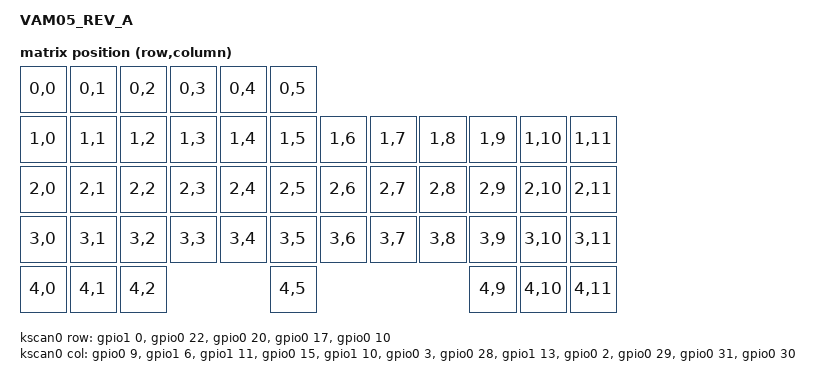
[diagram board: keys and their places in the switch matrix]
/*
 * Copyright (c) 2020 The ZMK Contributors
 *
 * SPDX-License-Identifier: MIT
 */

/dts-v1/;
#include <nordic/nrf52840_qiaa.dtsi>
#include <dt-bindings/zmk/matrix_transform.h>
#include <dt-bindings/led/led.h>
#include "vam05_rev_a-layouts.dtsi"


/ {
	model = "VAM05_REV_A";
	compatible = "vam05", "Rev_A";

	chosen {
		zephyr,code-partition = &code_partition;
		zephyr,sram = &sram0;
		zephyr,flash = &flash0;
		zmk,kscan = &kscan0;
        zmk,underglow = &led_strip;
		zmk,battery = &fuelgauge;
		zmk,studio-rpc-uart = &cdc_acm_uart;
	};

	ext-power {
		compatible = "zmk,ext-power-generic";
		control-gpios = <&gpio0 24 GPIO_ACTIVE_HIGH>; // P0.24	UG_EN（WS2812 power control）
	};

    aliases {
        led-red = &led0; // rgbled-widget 
        led-green = &led1;
        led-blue = &led2;
		led-caps = &led_orange;
		indicator-led = &user_led;
    };
    leds {
        compatible = "gpio-leds";
        status = "okay";// rgbled-widget
        led0: led_0 {
            gpios = <&gpio0 8 GPIO_ACTIVE_LOW>;  // red LED, connected to P0.26
        };
        led1: led_1 {
            gpios = <&gpio0 6 GPIO_ACTIVE_LOW>;  // green LED, connected to P0.30
        };
        led2: led_2 {
            gpios = <&gpio0 26 GPIO_ACTIVE_LOW>;  // blue LED, connected to P0.06
        };
		led_orange: led_orange {
			gpios = <&gpio0 12 GPIO_ACTIVE_LOW>; // P0.12	Extra_LED_Color2（extra RGB LED）
		};
        user_led: led_batt {
            gpios = <&gpio1 4 GPIO_ACTIVE_LOW>; // P1.04	Batt_LED_G（power RGB LED）
            label = "User LED";
        };
    };

	default_transform: keymap_transform_0 {
		compatible = "zmk,matrix-transform";
		columns = <12>;
		rows = <5>;
		map = <
			RC(0,0) RC(0,1) RC(0,2) RC(0,3) RC(0,4) RC(0,5)
			RC(1,0) RC(1,1) RC(1,2) RC(1,3) RC(1,4) RC(1,5) RC(1,6) RC(1,7) RC(1,8) RC(1,9) RC(1,10) RC(1,11)
			RC(2,0) RC(2,1) RC(2,2) RC(2,3) RC(2,4) RC(2,5) RC(2,6) RC(2,7) RC(2,8) RC(2,9) RC(2,10) RC(2,11)
			RC(3,0) RC(3,1) RC(3,2) RC(3,3) RC(3,4) RC(3,5) RC(3,6) RC(3,7) RC(3,8) RC(3,9) RC(3,10) RC(3,11)
			RC(4,0) RC(4,1) RC(4,2)                 RC(4,5)                         RC(4,9) RC(4,10) RC(4,11)
		>;
	};

	kscan0: kscan {
		compatible = "zmk,kscan-gpio-matrix";
		wakeup-source;
		diode-direction = "col2row";
		row-gpios
			= <&gpio1  0 (GPIO_ACTIVE_HIGH | GPIO_PULL_DOWN)>
			, <&gpio0 22 (GPIO_ACTIVE_HIGH | GPIO_PULL_DOWN)>
			, <&gpio0 20 (GPIO_ACTIVE_HIGH | GPIO_PULL_DOWN)>
			, <&gpio0 17 (GPIO_ACTIVE_HIGH | GPIO_PULL_DOWN)>
			, <&gpio0 10 (GPIO_ACTIVE_HIGH | GPIO_PULL_DOWN)>
			;
		col-gpios
			= <&gpio0  9 GPIO_ACTIVE_HIGH>
			, <&gpio1  6 GPIO_ACTIVE_HIGH>
			, <&gpio1 11 GPIO_ACTIVE_HIGH>
			, <&gpio0 15 GPIO_ACTIVE_HIGH>
			, <&gpio1 10 GPIO_ACTIVE_HIGH>
			, <&gpio0  3 GPIO_ACTIVE_HIGH>
			, <&gpio0 28 GPIO_ACTIVE_HIGH>
			, <&gpio1 13 GPIO_ACTIVE_HIGH>
			, <&gpio0  2 GPIO_ACTIVE_HIGH>
			, <&gpio0 29 GPIO_ACTIVE_HIGH>
			, <&gpio0 31 GPIO_ACTIVE_HIGH>
			, <&gpio0 30 GPIO_ACTIVE_HIGH>
			;
	};

};

&gpio0 {
	status = "okay";
};

&gpio1 {
	status = "okay";
};

zephyr_udc0: &usbd {
    status = "okay";
};

&usbd {
    status = "okay";
    cdc_acm_uart: cdc_acm_uart {
        compatible = "zephyr,cdc-acm-uart";
        label = "CDC_ACM_0";
    };
};

&pinctrl {

    spi3_default: spi3_default {
        group1 {
            psels = <NRF_PSEL(SPIM_MOSI, 0, 13)>; // P0.13	UG_LV（WS2812 data in）
        };
    };
    spi3_sleep: spi3_sleep {
        group1 {
            psels = <NRF_PSEL(SPIM_MOSI, 0, 13)>;
            low-power-enable;
        };
    };


    i2c0_default: i2c0_default {
            group1 {
                    psels = <NRF_PSEL(TWIM_SDA, 0, 5)>,
                             <NRF_PSEL(TWIM_SCL, 1, 9)>;
            };
    };

    i2c0_sleep: i2c0_sleep {
            group1 {
                    psels = <NRF_PSEL(TWIM_SDA, 0, 5)>,
                            <NRF_PSEL(TWIM_SCL, 1, 9)>;
                    low-power-enable;
            };

    };

};

&i2c0 {
	status = "okay";
	compatible = "nordic,nrf-twim";
	pinctrl-0 = <&i2c0_default>;
    pinctrl-1 = <&i2c0_sleep>;
    pinctrl-names = "default", "sleep";
	clock-frequency = <100000>;

	fuelgauge: max17048@36 {
		compatible = "zmk,maxim-max17048";
		reg = <0x36>;
	};
};

&spi3 {
	compatible = "nordic,nrf-spim";
	status = "okay";
	pinctrl-0 = <&spi3_default>;
	pinctrl-1 = <&spi3_sleep>;
	pinctrl-names = "default", "sleep";
	led_strip: ws2812@0 {
		compatible = "worldsemi,ws2812-spi";
		label = "WS2812";
		/* SPI */
		reg = <0>; /* ignored, but necessary for SPI bindings */
		spi-max-frequency = <4000000>;
		/* WS2812 */
		chain-length = <12>; /* LED strip length */
		spi-one-frame = <0x70>;
		spi-zero-frame = <0x40>;
		color-mapping = <LED_COLOR_ID_GREEN LED_COLOR_ID_RED LED_COLOR_ID_BLUE>;
	};
};


&flash0 {
	/*
	 * For more information, see:
	 * http://docs.zephyrproject.org/latest/devices/dts/flash_partitions.html
	 */
	partitions {
		compatible = "fixed-partitions";
		#address-cells = <1>;
		#size-cells = <1>;

		sd_partition: partition@0 {
			label = "softdevice";
			reg = <0x00000000 0x00026000>;
		};
		code_partition: partition@26000 {
			label = "code_partition";
			reg = <0x00026000 0x000c6000>;
		};

		/*
		 * The flash starting at 0x000ec000 and ending at
		 * 0x000f3fff is reserved for use by the application.
		 */

		/*
		 * Storage partition will be used by FCB/LittleFS/NVS
		 * if enabled.
		 */
		storage_partition: partition@ec000 {
			label = "storage";
			reg = <0x000ec000 0x00008000>;
		};

		boot_partition: partition@f4000 {
			label = "adafruit_boot";
			reg = <0x000f4000 0x0000c000>;
		};
	};
};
